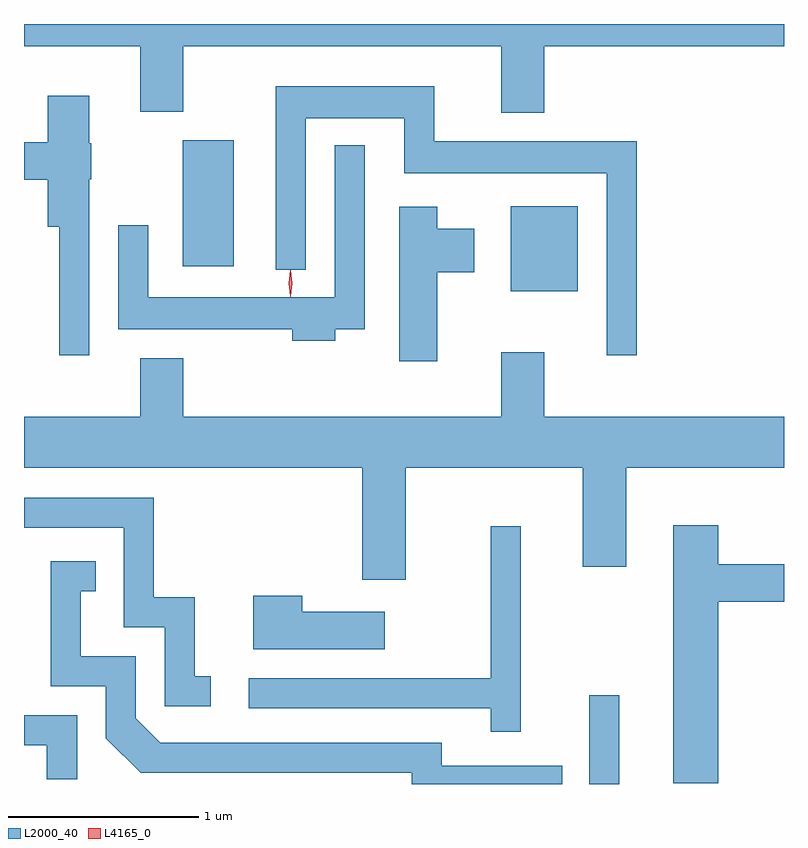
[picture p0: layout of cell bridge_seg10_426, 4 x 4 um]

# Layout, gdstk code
import gdstk
lib = gdstk.Library(unit=1e-6, precision=1e-09)
def R(c, l, rs):  # rectangles x0, y0, x1, y1
    for r in rs: c.add(gdstk.rectangle(r[:2], r[2:], *l))
def P(c, l, *ps):  # polygons
    for p in ps: c.add(gdstk.Polygon(p, *l))
L2000_40 = (2000, 40)
L4165_0 = (4165, 0)

bridge_seg10_426 = lib.new_cell('bridge_seg10_426')
R(bridge_seg10_426, L2000_40, [(1403.256,2132.232,1403.414,2132.698), (1402.841,2134.826,1403.194,2135.274), (1401.116,2134.956,1401.384,2135.619)])
P(bridge_seg10_426, L2000_40, [(1400.28,2136.116),(1400.891,2136.116),(1400.891,2135.771),(1401.119,2135.771),(1401.119,2136.116),(1402.791,2136.116),(1402.791,2135.766),(1403.019,2135.766),(1403.019,2136.116),(1404.28,2136.116),(1404.28,2136.232),(1400.28,2136.232)],
  [(1403.504,2135.614),(1402.439,2135.614),(1402.439,2135.904),(1401.606,2135.904),(1401.606,2134.938),(1401.764,2134.938),(1401.764,2135.736),(1402.281,2135.736),(1402.281,2135.446),(1403.346,2135.446),(1403.346,2134.488),(1403.504,2134.488)],
  [(1400.624,2135.415),(1400.634,2135.415),(1400.634,2135.605),(1400.624,2135.605),(1400.624,2135.854),(1400.406,2135.854),(1400.406,2135.609),(1400.28,2135.609),(1400.28,2135.411),(1400.406,2135.411),(1400.406,2135.166),(1400.466,2135.166),(1400.466,2134.488),(1400.624,2134.488)],
  [(1401.919,2134.626),(1402.074,2134.626),(1402.074,2135.593),(1401.916,2135.593),(1401.916,2134.794),(1400.934,2134.794),(1400.934,2135.173),(1400.776,2135.173),(1400.776,2134.626),(1401.691,2134.626),(1401.691,2134.566),(1401.919,2134.566)],
  [(1402.454,2134.926),(1402.649,2134.926),(1402.649,2135.154),(1402.454,2135.154),(1402.454,2135.269),(1402.256,2135.269),(1402.256,2134.456),(1402.454,2134.456)],
  [(1402.289,2133.896),(1403.221,2133.896),(1403.221,2133.376),(1403.449,2133.376),(1403.449,2133.896),(1404.28,2133.896),(1404.28,2134.164),(1403.019,2134.164),(1403.019,2134.504),(1402.791,2134.504),(1402.791,2134.164),(1401.119,2134.164),(1401.119,2134.474),(1400.891,2134.474),(1400.891,2134.164),(1400.28,2134.164),(1400.28,2133.896),(1402.061,2133.896),(1402.061,2133.306),(1402.289,2133.306)],
  [(1401.263,2132.799),(1401.179,2132.799),(1401.179,2133.214),(1400.964,2133.214),(1400.964,2133.739),(1400.28,2133.739),(1400.28,2133.581),(1400.806,2133.581),(1400.806,2133.056),(1401.021,2133.056),(1401.021,2132.641),(1401.263,2132.641)],
  [(1403.934,2133.191),(1404.28,2133.191),(1404.28,2133.389),(1403.934,2133.389),(1403.934,2133.594),(1403.696,2133.594),(1403.696,2132.236),(1403.934,2132.236)],
  [(1402.894,2133.588),(1402.736,2133.588),(1402.736,2132.789),(1401.463,2132.789),(1401.463,2132.631),(1402.736,2132.631),(1402.736,2132.508),(1402.894,2132.508)],
  [(1403.113,2132.329),(1402.479,2132.329),(1402.479,2132.449),(1400.997,2132.449),(1400.869,2132.577),(1400.869,2132.904),(1400.579,2132.904),(1400.579,2133.246),(1400.658,2133.246),(1400.658,2133.404),(1400.421,2133.404),(1400.421,2132.746),(1400.711,2132.746),(1400.711,2132.474),(1400.894,2132.291),(1402.321,2132.291),(1402.321,2132.232),(1403.113,2132.232)],
  [(1402.179,2133.139),(1401.744,2133.139),(1401.744,2133.224),(1401.486,2133.224),(1401.486,2132.941),(1402.179,2132.941)],
  [(1400.559,2132.594),(1400.28,2132.594),(1400.28,2132.436),(1400.401,2132.436),(1400.401,2132.258),(1400.559,2132.258)])
P(bridge_seg10_426, L4165_0, [(1401.683,2134.797),(1401.682,2134.798),(1401.673,2134.867),(1401.682,2134.936),(1401.683,2134.936),(1401.684,2134.936),(1401.693,2134.867),(1401.684,2134.798)])

lib.write_gds('bridge_seg10_426.gds')
